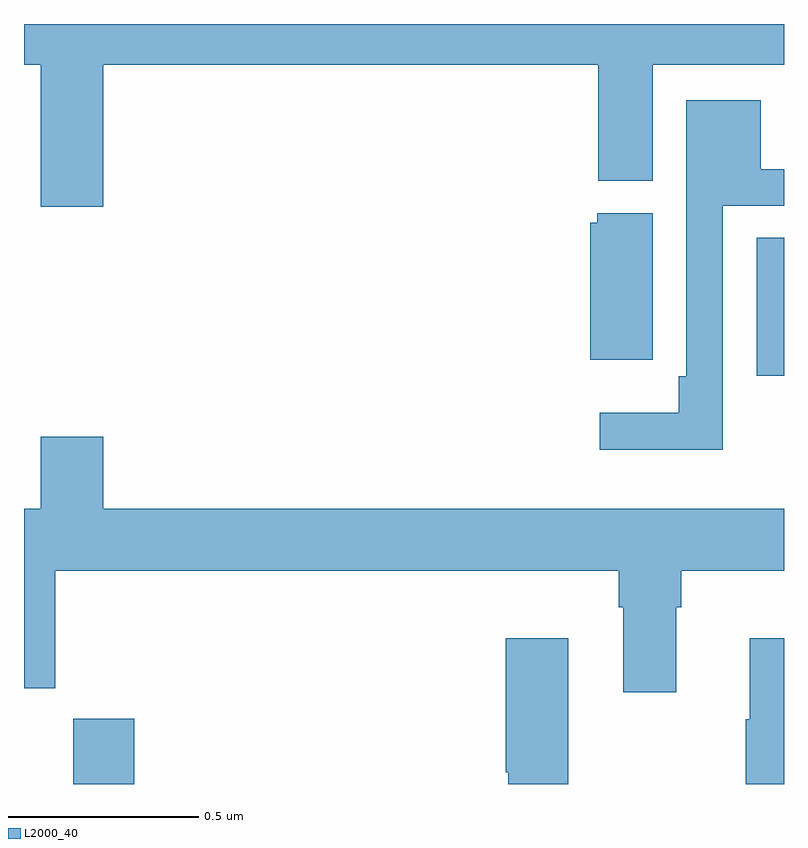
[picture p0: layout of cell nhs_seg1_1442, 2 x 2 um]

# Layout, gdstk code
import gdstk
lib = gdstk.Library(unit=1e-6, precision=1e-09)
def R(c, l, rs):  # rectangles x0, y0, x1, y1
    for r in rs: c.add(gdstk.rectangle(r[:2], r[2:], *l))
def P(c, l, *ps):  # polygons
    for p in ps: c.add(gdstk.Polygon(p, *l))
L2000_40 = (2000, 40)

nhs_seg1_1442 = lib.new_cell('nhs_seg1_1442')
R(nhs_seg1_1442, L2000_40, [(129.13,523.199,129.29,523.371), (130.928,524.274,131,524.636)])
P(nhs_seg1_1442, L2000_40, [(129.208,525.092),(130.511,525.092),(130.511,524.786),(130.654,524.786),(130.654,525.092),(131,525.092),(131,525.199),(129,525.199),(129,525.092),(129.044,525.092),(129.044,524.718),(129.208,524.718)],
  [(130.839,524.721),(131,524.721),(131,524.817),(130.939,524.817),(130.939,524.998),(130.743,524.998),(130.743,524.272),(130.723,524.272),(130.723,524.176),(130.515,524.176),(130.515,524.078),(130.839,524.078)],
  [(130.654,524.701),(130.509,524.701),(130.509,524.676),(130.49,524.676),(130.49,524.315),(130.654,524.315)],
  [(130.717,523.664),(130.73,523.664),(130.73,523.76),(131,523.76),(131,523.924),(129.208,523.924),(129.208,524.113),(129.044,524.113),(129.044,523.924),(129,523.924),(129,523.451),(129.082,523.451),(129.082,523.76),(130.565,523.76),(130.565,523.664),(130.577,523.664),(130.577,523.44),(130.717,523.44)],
  [(130.432,523.582),(130.268,523.582),(130.268,523.23),(130.274,523.23),(130.274,523.199),(130.432,523.199)],
  [(131,523.582),(130.91,523.582),(130.91,523.369),(130.899,523.369),(130.899,523.199),(131,523.199)])

lib.write_gds('nhs_seg1_1442.gds')
